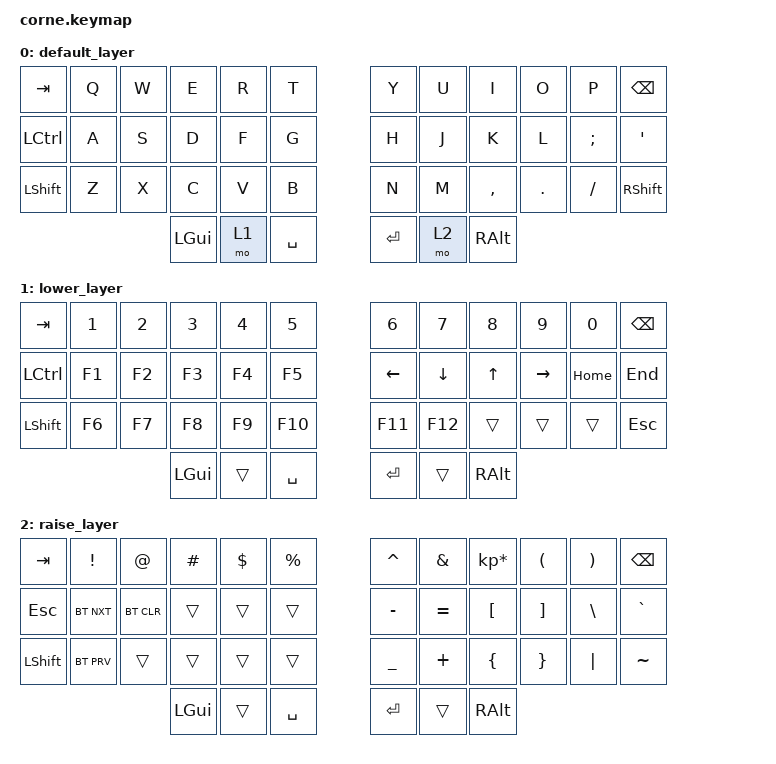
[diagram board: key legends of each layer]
/*
 * Copyright (c) 2020 The ZMK Contributors
 *
 * SPDX-License-Identifier: MIT
 */
#include <behaviors.dtsi>
#include <dt-bindings/zmk/keys.h>
#include <dt-bindings/zmk/bt.h>

/ {
        keymap {
                compatible = "zmk,keymap";

                default_layer {
// -----------------------------------------------------------------------------------------
// |  TAB |  Q  |  W  |  E  |  R  |  T  |   |  Y  |  U   |  I  |  O  |  P  | BKSP |
// | CTRL |  A  |  S  |  D  |  F  |  G  |   |  H  |  J   |  K  |  L  |  ;  |  '   |
// | SHFT |  Z  |  X  |  C  |  V  |  B  |   |  N  |  M   |  ,  |  .  |  /  | SHFT |
//                    | GUI | LWR | SPC |   | ENT | RSE  | ALT |
                        bindings = <
   &kp TAB   &kp Q &kp W &kp E &kp R &kp T   &kp Y &kp U  &kp I     &kp O   &kp P    &kp BSPC
   &kp LCTRL &kp A &kp S &kp D &kp F &kp G   &kp H &kp J  &kp K     &kp L   &kp SEMI &kp SQT
   &kp LSHFT &kp Z &kp X &kp C &kp V &kp B   &kp N &kp M  &kp COMMA &kp DOT &kp FSLH &kp RSHFT
                  &kp LGUI &mo 1 &kp SPACE   &kp RET &mo 2 &kp RALT
                        >;
                };
                lower_layer {
// -----------------------------------------------------------------------------------------
// |  TAB |  1  |  2  |  3  |  4  |  5  |   |  6  |  7  |  8  |  9  |  0  | BKSP |
// | LCTRL| F1  | F2  | F3  | F4  | F5  |   | LFT | DWN |  UP | RGT | HOME| END  |
// | SHFT | F6  | F7  | F8  | F9  | F10 |   | F11 | F12 |     |     |     | ESC  |
//                    | GUI |     | SPC |   | ENT |     | ALT |
                        bindings = <
   &kp TAB    &kp N1  &kp N2 &kp N3 &kp N4 &kp N5   &kp N6   &kp N7   &kp N8 &kp N9    &kp N0 &kp BSPC
   &kp LCTRL  &kp F1  &kp F2 &kp F3 &kp F4 &kp F5   &kp LEFT &kp DOWN &kp UP &kp RIGHT &kp HOME &kp END
   &kp LSHFT  &kp F6  &kp F7 &kp F8 &kp F9 &kp F10  &kp F11  &kp F12  &trans &trans    &trans &kp ESC
                   &kp LGUI     &trans       &kp SPACE      &kp RET   &trans &kp RALT
                        >;
                };

                raise_layer {
// -----------------------------------------------------------------------------------------
// |  TAB |  !   |  @  |  #  |  $  |  %  |   |  ^  |  &  |  *  |  (  |  )  | BKSP |
// | ESC  |BT_NXT|BT_CLR|    |     |     |   |  -  |  =  |  [  |  ]  |  \  |  `   |
// | SHFT |BT_PRV|     |     |     |     |   |  _  |  +  |  {  |  }  | "|" |  ~   |
//                    | GUI |     | SPC |   | ENT |     | ALT |
                        bindings = <
   &kp TAB   &kp EXCL &kp AT &kp HASH &kp DLLR &kp PRCNT   &kp CARET &kp AMPS  &kp KP_MULTIPLY &kp LPAR &kp RPAR &kp BSPC
   &kp ESC &bt BT_NXT &bt BT_CLR &trans   &trans   &trans      &kp MINUS &kp EQUAL &kp LBKT        &kp RBKT &kp BSLH &kp GRAVE
   &kp LSHFT &bt BT_PRV &trans &trans   &trans   &trans      &kp UNDER &kp PLUS  &kp LBRC        &kp RBRC &kp PIPE &kp TILDE
                             &kp LGUI &trans   &kp SPACE   &kp RET   &trans    &kp RALT
                        >;
                };
        };
};
